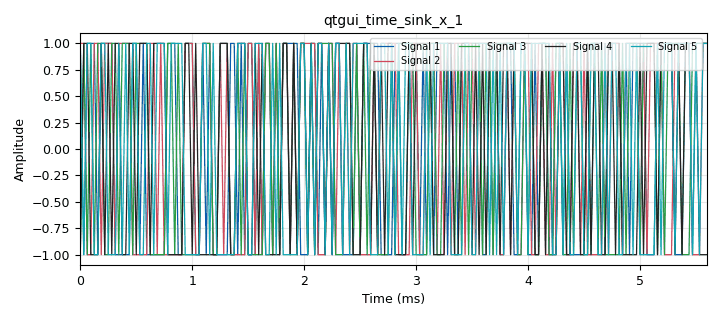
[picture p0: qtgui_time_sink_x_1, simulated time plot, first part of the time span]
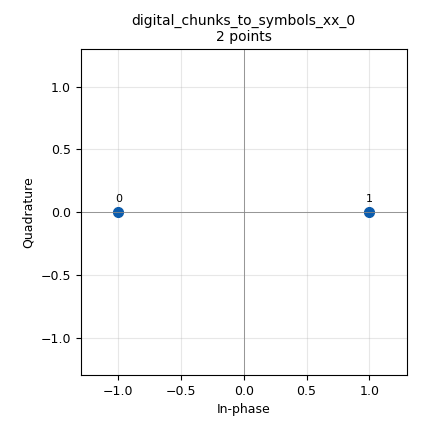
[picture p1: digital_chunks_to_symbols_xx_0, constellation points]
options:
  parameters:
    generate_options: qt_gui
    id: eye
    output_language: python
    title: Not titled yet
  states: {}

blocks:
- name: samp_rate
  id: variable
  parameters:
    value: '32000'
  states: {}
- name: analog_random_source_x_0
  id: analog_random_source_x
  parameters:
    max: '2'
    min: '0'
    num_samps: '1000'
    repeat: 'True'
    type: byte
  states: {}
- name: blocks_delay_0
  id: blocks_delay
  parameters:
    delay: '10'
    type: float
  states: {}
- name: blocks_delay_0_0
  id: blocks_delay
  parameters:
    delay: '15'
    type: float
  states: {}
- name: blocks_delay_0_1
  id: blocks_delay
  parameters:
    delay: '20'
    type: float
  states: {}
- name: blocks_delay_0_2
  id: blocks_delay
  parameters:
    delay: '30'
    type: float
  states: {}
- name: blocks_delay_0_3
  id: blocks_delay
  parameters:
    delay: '25'
    type: float
  states: {}
- name: digital_chunks_to_symbols_xx_0
  id: digital_chunks_to_symbols_xx
  parameters:
    dimension: '1'
    in_type: byte
    out_type: float
    symbol_table: (-1,1)
  states: {}
- name: qtgui_number_sink_0
  id: qtgui_number_sink
  parameters:
    autoscale: 'True'
    graph_type: qtgui.NUM_GRAPH_HORIZ
    max: '2'
    min: '0'
    type: byte
  states: {}
- name: qtgui_time_sink_x_1
  id: qtgui_time_sink_x
  parameters:
    autoscale: 'True'
    ctrlpanel: 'True'
    nconnections: '5'
    size: '1024'
    srate: samp_rate
    type: float
  states: {}

connections:
- [analog_random_source_x_0, '0', digital_chunks_to_symbols_xx_0, '0']
- [analog_random_source_x_0, '0', qtgui_number_sink_0, '0']
- [blocks_delay_0, '0', qtgui_time_sink_x_1, '0']
- [blocks_delay_0_0, '0', qtgui_time_sink_x_1, '1']
- [blocks_delay_0_1, '0', qtgui_time_sink_x_1, '2']
- [blocks_delay_0_2, '0', qtgui_time_sink_x_1, '4']
- [blocks_delay_0_3, '0', qtgui_time_sink_x_1, '3']
- [digital_chunks_to_symbols_xx_0, '0', blocks_delay_0, '0']
- [digital_chunks_to_symbols_xx_0, '0', blocks_delay_0_0, '0']
- [digital_chunks_to_symbols_xx_0, '0', blocks_delay_0_1, '0']
- [digital_chunks_to_symbols_xx_0, '0', blocks_delay_0_2, '0']
- [digital_chunks_to_symbols_xx_0, '0', blocks_delay_0_3, '0']

metadata:
  file_format: 1
  grc_version: 3.10.9.2
